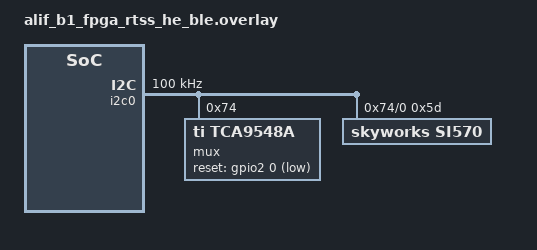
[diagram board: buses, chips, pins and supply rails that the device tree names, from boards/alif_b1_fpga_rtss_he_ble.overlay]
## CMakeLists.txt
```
# Copyright (C) 2023 Alif Semiconductor - All Rights Reserved.
# Use, distribution and modification of this code is permitted under the
# terms stated in the Alif Semiconductor Software License Agreement
#
# You should have received a copy of the Alif Semiconductor Software
# License Agreement with this file. If not, please write to:
# contact@alifsemi.com, or visit: https://alifsemi.com/license

cmake_minimum_required(VERSION 3.20.0)
find_package(Zephyr REQUIRED HINTS $ENV{ZEPHYR_BASE})
project(si570)

target_sources(app PRIVATE
    src/main.c
)
```

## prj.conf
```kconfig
# Copyright (C) 2023 Alif Semiconductor - All Rights Reserved.
# Use, distribution and modification of this code is permitted under the
# terms stated in the Alif Semiconductor Software License Agreement
#
# You should have received a copy of the Alif Semiconductor Software
# License Agreement with this file. If not, please write to:
# contact@alifsemi.com, or visit: https://alifsemi.com/license

CONFIG_USE_SEGGER_RTT=y
CONFIG_RTT_CONSOLE=y

CONFIG_LOG=y
CONFIG_ASSERT=y

CONFIG_I2C=y
CONFIG_SI570=y
CONFIG_SI570_LOG_LEVEL_DBG=y

CONFIG_I2C_INIT_PRIORITY=50
CONFIG_I2C_TCA954X_ROOT_INIT_PRIO=51
CONFIG_I2C_TCA954X_CHANNEL_INIT_PRIO=52
CONFIG_SI570_INIT_PRIORITY=53
```

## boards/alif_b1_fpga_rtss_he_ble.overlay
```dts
/* Copyright (C) 2023 Alif Semiconductor - All Rights Reserved.
 * Use, distribution and modification of this code is permitted under the
 * terms stated in the Alif Semiconductor Software License Agreement
 *
 * You should have received a copy of the Alif Semiconductor Software
 * License Agreement with this file. If not, please write to:
 * contact@alifsemi.com, or visit: https://alifsemi.com/license
 *
 */

#include <dt-bindings/pinctrl/balletto-pinctrl.h>
#include <dt-bindings/i2c/i2c.h>
#include <dt-bindings/gpio/gpio.h>

/ {
	aliases {
		clock-si570 = &si570;
	};

	soc {
		i2c0: i2c0@49010000 {
			compatible = "snps,designware-i2c";
			clock-frequency = <I2C_BITRATE_STANDARD>;
			#address-cells = <1>;
			#size-cells = <0>;
			reg = <0x49010000 0x1000>;
			pinctrl-0 = < &pinctrl_i2c0 >;
			pinctrl-names = "default";
			interrupt-parent = <&nvic>;
			interrupts = <132 3>;
			status = "okay";

			mux: tca9548a@74 {
				compatible = "ti,tca9548a";
				reg = <0x74>;
				status = "okay";
				#address-cells = <1>;
				#size-cells = <0>;
				reset-gpios = <&gpio2 0 GPIO_ACTIVE_LOW>;

				ch0: mux_i2c@0 {
					compatible = "ti,tca9548a-channel";
					reg = <0>;
					status = "okay";
					#address-cells = <1>;
					#size-cells = <0>;

					si570: si570@5d {
						compatible = "skyworks,si570";
						reg = <0x5d>;
						factory-fout = <156250000>;
						initial-freq = <20000000>;
					};
				};
			};
		};
	};
};

&pinctrl {
	pinctrl_i2c0: pinctrl_i2c0 {
		group0 {
			pinmux = < PIN_P2_4__I2C0_SCL_B >,
				< PIN_P2_5__I2C0_SDA_B >;
			read_enable = < 0x1 >;
		};
	};
};

&gpio2 {
	status = "okay";
};
```

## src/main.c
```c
/* Copyright (C) 2023 Alif Semiconductor - All Rights Reserved.
 * Use, distribution and modification of this code is permitted under the
 * terms stated in the Alif Semiconductor Software License Agreement
 *
 * You should have received a copy of the Alif Semiconductor Software
 * License Agreement with this file. If not, please write to:
 * contact@alifsemi.com, or visit: https://alifsemi.com/license
 */

#include <zephyr/kernel.h>
#include <zephyr/logging/log.h>
#include <zephyr/sys/__assert.h>
#include <zephyr/device.h>
#include <zephyr/drivers/clock_control.h>

LOG_MODULE_REGISTER(main);

#define SI570_NODE DT_ALIAS(clock_si570)
const struct device *si570_dev = DEVICE_DT_GET(SI570_NODE);

int main(void)
{
	LOG_INF("SI570 demo starting");

	if (!device_is_ready(si570_dev)) {
		LOG_ERR("SI570 device is not ready");
		return -1;
	}

	uint64_t frequency_list[] = {
		20000000ULL, 21000000ULL, 22000000ULL, 23000000ULL, 24000000ULL,
		25000000ULL, 25000100ULL, 25000000ULL, 24000900ULL, 25000000ULL,
	};

	while (1) {
		/* Repeatedly cycle through the frequency list */
		for (uint32_t i = 0; i < ARRAY_SIZE(frequency_list); i++) {
			LOG_INF("Setting frequency of %llu Hz", frequency_list[i]);

			int ret = clock_control_set_rate(si570_dev, NULL, &frequency_list[i]);

			if (ret) {
				LOG_ERR("Failed to set clock rate, err %d", ret);
				return ret;
			}

			uint32_t rate_get;

			ret = clock_control_get_rate(si570_dev, NULL, &rate_get);
			if (ret) {
				LOG_ERR("Failed to get clock rate, err %d", ret);
				return ret;
			}

			LOG_INF("read back frequency of %u Hz", rate_get);

			k_sleep(K_SECONDS(5));
		}
	}
}
```
